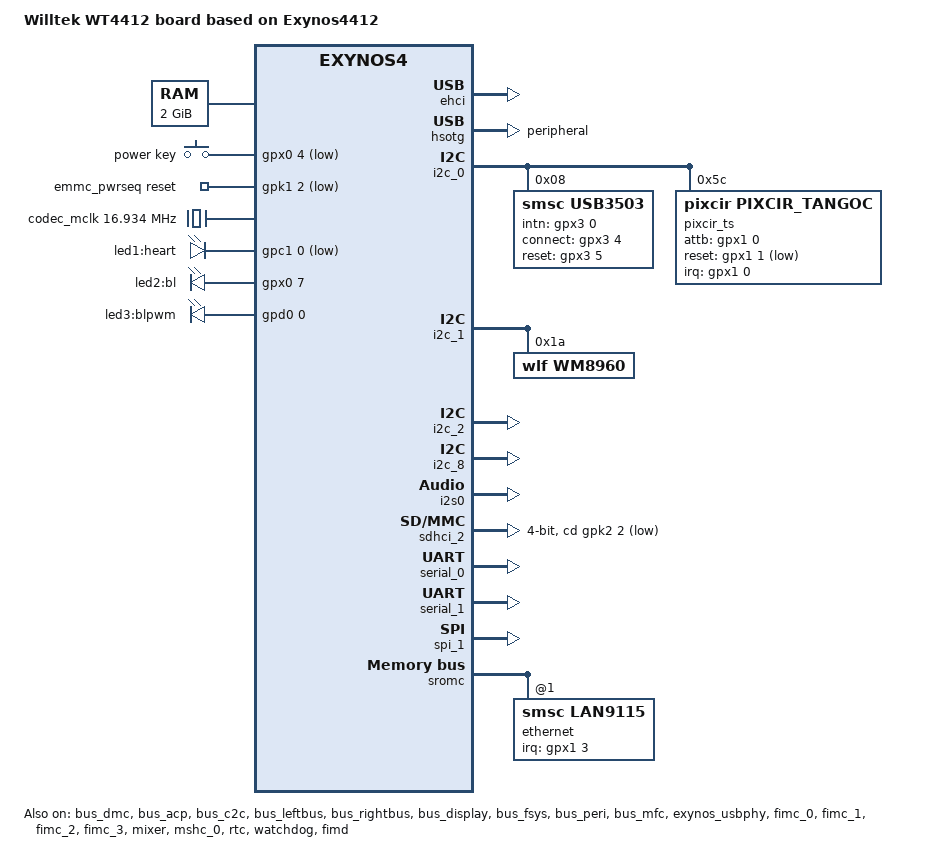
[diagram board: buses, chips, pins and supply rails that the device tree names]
/*
 * Device tree source file for Willtek WT4412 board based on Exynos4412
 *
 * This program is free software; you can redistribute it and/or modify
 * it under the terms of the GNU General Public License version 2 as
 * published by the Free Software Foundation.
*/

/dts-v1/;
#include <dt-bindings/sound/samsung-i2s.h>
#include <dt-bindings/input/input.h>
#include "exynos4412.dtsi"
#include "exynos4412-ppmu-common.dtsi"
#include <dt-bindings/gpio/gpio.h>
#include "exynos-mfc-reserved-memory.dtsi"

/ {
	model = "Willtek WT4412 board based on Exynos4412";
	compatible = "willtek,wt4412", "samsung,exynos4412", "samsung,exynos4";

	memory@40000000 {
		device_type = "memory";
		reg = <0x40000000 0x7FF00000>;
	};

	chosen {
		stdout-path = &serial_1;
	};

	firmware@0204F000 {
		compatible = "samsung,secure-firmware";
		reg = <0x0204F000 0x1000>;
	};

	gpio_keys {
		compatible = "gpio-keys";
		pinctrl-names = "default";
		pinctrl-0 = <&gpio_power_key>;

		power_key {
			interrupt-parent = <&gpx0>;
			interrupts = <4 0>;
			gpios = <&gpx0 4 GPIO_ACTIVE_LOW>;
			linux,code = <KEY_POWER>;
			label = "power key";
			debounce-interval = <10>;
			wakeup-source;
		};
	};

	sound: sound {
		compatible = "simple-audio-card";

		simple-audio-card,format = "i2s";
		simple-audio-card,bitclock-master = <&link0_cpu>;
		simple-audio-card,frame-master = <&link0_cpu>;

		link0_cpu: simple-audio-card,cpu {
			sound-dai = <&i2s0 0>;
			//system-clock-frequency = <19200000>;
		};

		link0_codec: simple-audio-card,codec {
			sound-dai = <&wm8960>;
			clocks = <&i2s0 CLK_I2S_CDCLK>;
		};
	};

	emmc_pwrseq: pwrseq {
		pinctrl-0 = <&sd1_cd>;
		pinctrl-names = "default";
		compatible = "mmc-pwrseq-emmc";
		reset-gpios = <&gpk1 2 GPIO_ACTIVE_LOW>;
	};

	camera {
		status = "okay";
		pinctrl-names = "default";
		pinctrl-0 = <>;
	};

	fixed-rate-clocks {
		xxti {
			compatible = "samsung,clock-xxti";
			clock-frequency = <0>;
		};

		xusbxti {
			compatible = "samsung,clock-xusbxti";
			clock-frequency = <24000000>;
		};

		codec_mclk: codec-mclk {
			compatible = "fixed-clock";
			#clock-cells = <0>;
			clock-frequency = <16934000>;
		};

		/* James Kim 170831: add for rtc clock */
		xrtcxti: xrtcxti {
			compatible = "fixed-clock";
			clock-frequency = <32768>;
			clock-output-names = "xrtcxti";
			#clock-cells = <0>;
	 	};
	};

	leds {
		compatible = "gpio-leds";
		led1 {
			label = "led1:heart";
			gpios = <&gpc1 0 GPIO_ACTIVE_LOW>;
			default-state = "on";
			linux,default-trigger = "heartbeat";
		};

		/* James Kim 170607: add for backlight test */
		led2 {
			label = "led2:bl";
			gpios = <&gpx0 7 GPIO_ACTIVE_HIGH>;
			default-state = "on";
			linux,default-trigger = "bl";
		};

		/* James Kim 170608: add for BL control */
		led3 {
			label = "led3:blpwm";
			gpios = <&gpd0 0 GPIO_ACTIVE_HIGH>;
			default-state = "on";
			linux,default-trigger = "blpwm";
		};
	};
};

&bus_dmc {
	devfreq-events = <&ppmu_dmc0_3>, <&ppmu_dmc1_3>;
	//vdd-supply = <&buck1_reg>;
	status = "okay";
};

&bus_acp {
	devfreq = <&bus_dmc>;
	status = "okay";
};

&bus_c2c {
	devfreq = <&bus_dmc>;
	status = "okay";
};

&bus_leftbus {
	devfreq-events = <&ppmu_leftbus_3>, <&ppmu_rightbus_3>;
	//vdd-supply = <&buck3_reg>;
	status = "okay";
};

&bus_rightbus {
	devfreq = <&bus_leftbus>;
	status = "okay";
};

&bus_display {
	devfreq = <&bus_leftbus>;
	status = "okay";
};

&bus_fsys {
	devfreq = <&bus_leftbus>;
	status = "okay";
};

&bus_peri {
	devfreq = <&bus_leftbus>;
	status = "okay";
};

&bus_mfc {
	devfreq = <&bus_leftbus>;
	status = "okay";
};

&clock_audss {
	assigned-clocks = <&clock_audss EXYNOS_MOUT_AUDSS>,
			<&clock_audss EXYNOS_MOUT_I2S>,
			<&clock_audss EXYNOS_DOUT_SRP>,
			<&clock_audss EXYNOS_DOUT_AUD_BUS>;
	assigned-clock-parents = <&clock CLK_FOUT_EPLL>,
			<&clock_audss EXYNOS_MOUT_AUDSS>;
	assigned-clock-rates = <0>, <0>, <192000000>, <19200000>;
	//assigned-clock-rates = <0>, <0>, <192000000>, <11200000>;
};

&cpu0 {
	//cpu0-supply = <&buck2_reg>;
};

/* RSTN signal for eMMC */
&sd1_cd {
	samsung,pin-pud = <EXYNOS_PIN_PULL_NONE>;
	samsung,pin-drv = <EXYNOS4_PIN_DRV_LV1>;
};

&pinctrl_1 {
	gpio_power_key: power_key {
		samsung,pins = "gpx0-4";
		samsung,pin-pud = <EXYNOS_PIN_PULL_NONE>;
	};
};

&ehci {
	status = "okay";
};

&exynos_usbphy {
	status = "okay";
};

&fimc_0 {
	status = "okay";
	assigned-clocks = <&clock CLK_MOUT_FIMC0>,
			<&clock CLK_SCLK_FIMC0>;
	assigned-clock-parents = <&clock CLK_MOUT_MPLL_USER_T>;
	assigned-clock-rates = <0>, <176000000>;
};

&fimc_1 {
	status = "okay";
	assigned-clocks = <&clock CLK_MOUT_FIMC1>,
			<&clock CLK_SCLK_FIMC1>;
	assigned-clock-parents = <&clock CLK_MOUT_MPLL_USER_T>;
	assigned-clock-rates = <0>, <176000000>;
};

&fimc_2 {
	status = "okay";
	assigned-clocks = <&clock CLK_MOUT_FIMC2>,
			<&clock CLK_SCLK_FIMC2>;
	assigned-clock-parents = <&clock CLK_MOUT_MPLL_USER_T>;
	assigned-clock-rates = <0>, <176000000>;
};

&fimc_3 {
	status = "okay";
	assigned-clocks = <&clock CLK_MOUT_FIMC3>,
			<&clock CLK_SCLK_FIMC3>;
	assigned-clock-parents = <&clock CLK_MOUT_MPLL_USER_T>;
	assigned-clock-rates = <0>, <176000000>;
};

&hsotg {
	dr_mode = "peripheral";
	status = "okay";
	//vusb_d-supply = <&ldo15_reg>;
	//vusb_a-supply = <&ldo12_reg>;
};

&i2c_0 {
	samsung,i2c-sda-delay = <100>;
	samsung,i2c-max-bus-freq = <400000>;
	status = "okay";

	usb3503: usb3503@08 {
		compatible = "smsc,usb3503";
		reg = <0x08>;

		intn-gpios = <&gpx3 0 GPIO_ACTIVE_HIGH>;
		connect-gpios = <&gpx3 4 GPIO_ACTIVE_HIGH>;
		reset-gpios = <&gpx3 5 GPIO_ACTIVE_HIGH>;
		initial-mode = <1>;
	};

	pixcir_ts@5c {
                pinctrl-names = "default";
                compatible = "pixcir,pixcir_tangoc";
                reg = <0x5c>;
                interrupt-parent = <&gpx1>;
                interrupts = <0 IRQ_TYPE_EDGE_FALLING>;
                attb-gpio = <&gpx1 0 GPIO_ACTIVE_HIGH>;
                reset-gpio = <&gpx1 1 GPIO_ACTIVE_LOW>;
                touchscreen-size-x = <1024>;
                touchscreen-size-y = <600>;
	};
};

&i2c_1 {
	status = "okay";

	samsung,i2c-sda-delay = <100>;
	samsung,i2c-max-bus-freq = <20000>;

	wm8960: wm8960@1a {
		compatible = "wlf,wm8960";
		reg = <0x1a>;
		clocks = <&i2s0 CLK_I2S_CDCLK>;
		clock-names = "mclk";
		#sound-dai-cells = <0>;
        };
};

&i2c_2 {
	status = "okay";
};

&i2c_8 {
	status = "okay";
};

&i2s0 {
	pinctrl-0 = <&i2s0_bus>;
	pinctrl-names = "default";
	status = "okay";
};

&mixer {
	status = "okay";
};

&mshc_0 {
	pinctrl-0 = <&sd4_clk &sd4_cmd &sd4_bus4 &sd4_bus8>;
	pinctrl-names = "default";
	//vmmc-supply = <&ldo20_reg>;
	mmc-pwrseq = <&emmc_pwrseq>;
	status = "okay";

	num-slots = <1>;
	broken-cd;
	card-detect-delay = <200>;
	samsung,dw-mshc-ciu-div = <3>;
	samsung,dw-mshc-sdr-timing = <2 3>;
	samsung,dw-mshc-ddr-timing = <1 2>;
	bus-width = <8>;
	cap-mmc-highspeed;
};

&rtc {
	status = "okay";
	clocks = <&clock CLK_RTC>, <&xrtcxti 0>;
	clock-names = "rtc", "rtc_src";
};

&sdhci_2 {
	bus-width = <4>;
	pinctrl-0 = <&sd2_clk &sd2_cmd &sd2_cd &sd2_bus4>;
	pinctrl-names = "default";
	//vmmc-supply = <&ldo21_reg>;
	//vqmmc-supply = <&ldo4_reg>;
	cd-gpios = <&gpk2 2 GPIO_ACTIVE_HIGH>;
	cd-inverted;
	status = "okay";
};

&serial_0 {
	status = "okay";
};

&serial_1 {
	status = "okay";
};

&watchdog {
	status = "okay";
};

&usb3503 {
	clock-names = "refclk";
	clocks = <&pmu_system_controller 0>;
	/* James Kim 170729: change 24MHz to 26MHz */
	//refclk-frequency = <24000000>;
	refclk-frequency = <26000000>;
};

&ehci {
	port@1 {
		status = "okay";
	};
	port@2 {
		status = "okay";
	};
};

&sound {
	simple-audio-card,name = "WT4412-WM8960";
	//simple-audio-card,widgets =
		//"Headphone", "Headphone Jack",
		//"Speakers", "Speakers";

		//"Microphone", "Microphone Jack",
		//"Headphone", "Headphone Jack",
		//"Speaker", "External Speaker";

		//"Headphone", "Headphone Jack";
	//simple-audio-card,routing =
		//"Headphone Jack", "HPL",
		//"Headphone Jack", "HPR",
		//"Headphone Jack", "MICBIAS",
		//"IN1", "Headphone Jack",
		//"Speakers", "SPKL",
		//"Speakers", "SPKR";

		//"MIC_IN", "Microphone Jack",
		//"Headphone Jack", "HP_OUT",
		//"External Speaker", "LINE_OUT";

		//"Headphone Jack", "HP_L",
		//"Headphone Jack", "HP_R";
};

&spi_1 {
	pinctrl-names = "default";
	pinctrl-0 = <&spi1_bus>;
	cs-gpios = <&gpb 5 GPIO_ACTIVE_HIGH>;
	status = "okay";
};

&pinctrl_0 {
srom_ctl: srom-ctl {
		  samsung,pins = "gpy0-3", "gpy0-4", "gpy0-5",
			  "gpy1-0", "gpy1-1", "gpy1-2", "gpy1-3";
		  samsung,pin-function = <EXYNOS_PIN_FUNC_2>;
		  samsung,pin-drv = <EXYNOS4_PIN_DRV_LV1>;
	  };

srom_ebi: srom-ebi {
		  samsung,pins = "gpy3-0", "gpy3-1", "gpy3-2", "gpy3-3",
			  "gpy3-4", "gpy3-5", "gpy3-6", "gpy3-7",
			  "gpy5-0", "gpy5-1", "gpy5-2", "gpy5-3",
			  "gpy5-4", "gpy5-5", "gpy5-6", "gpy5-7",
			  "gpy6-0", "gpy6-1", "gpy6-2", "gpy6-3",
			  "gpy6-4", "gpy6-5", "gpy6-6", "gpy6-7";
		  samsung,pin-function = <EXYNOS_PIN_FUNC_2>;
		  samsung,pin-pud = <EXYNOS_PIN_PULL_UP>;
		  samsung,pin-drv = <EXYNOS4_PIN_DRV_LV1>;
	  };
};

&sromc {
	pinctrl-names = "default";

	ethernet@1,0 {
		compatible = "smsc,lan9115";
		reg = <1 0 0x10000>;
		phy-mode = "mii";
		interrupt-parent = <&gpx1>;
		interrupts = <3 IRQ_TYPE_EDGE_FALLING>;
		reg-io-width = <2>;
		smsc,irq-push-pull;
		smsc,force-internal-phy;

		samsung,srom-page-mode;
		samsung,srom-timing = <9 12 1 9 1 1>;
		//samsung,srom-timing = <9 12 1 6 1 1>;
	};
};

&fimd {
	pinctrl-0 = <&lcd_clk &lcd_data24 &pwm0_out>;
	pinctrl-names = "default";
	status = "okay";

	display-timings {
		native-mode = <&timing0>;
		timing0: timing {
			clock-frequency = <47500000>;
			hactive = <1024>;
			vactive = <600>;
			hfront-porch = <64>;
			hback-porch = <16>;
			hsync-len = <48>;
			vback-porch = <64>;
			vfront-porch = <16>;
			vsync-len = <3>;
		};
	};
};

